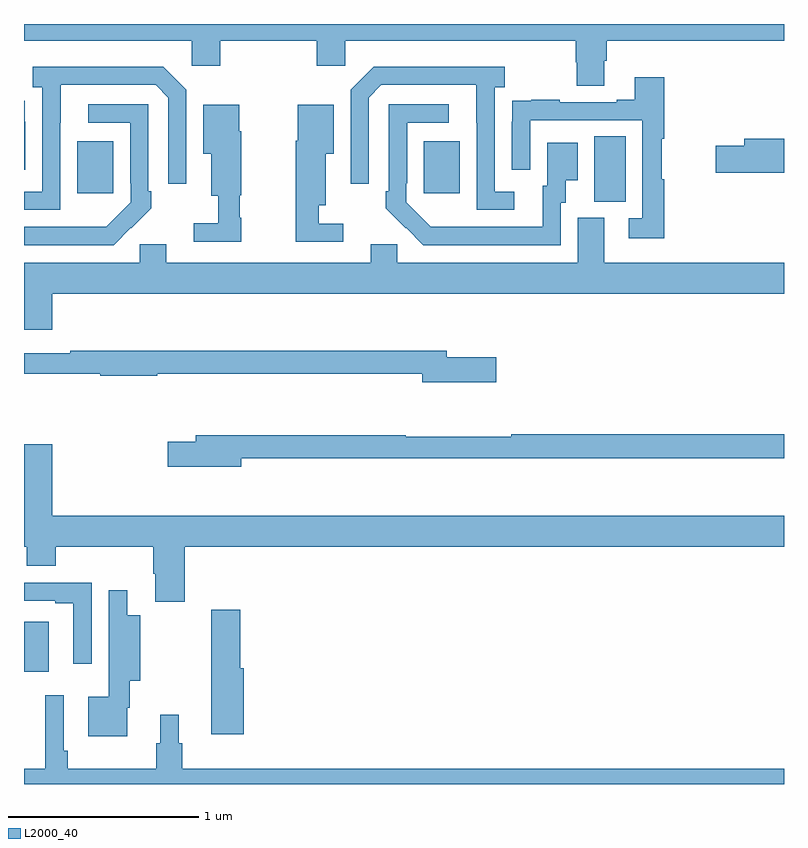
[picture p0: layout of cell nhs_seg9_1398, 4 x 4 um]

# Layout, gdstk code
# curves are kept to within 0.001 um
import gdstk
lib = gdstk.Library(unit=1e-6, precision=1e-09)
def R(c, l, rs):  # rectangles x0, y0, x1, y1
    for r in rs: c.add(gdstk.rectangle(r[:2], r[2:], *l))
def P(c, l, *ps):  # polygons
    for p in ps: c.add(gdstk.Polygon(p, *l))
L2000_40 = (2000, 40)

nhs_seg9_1398 = lib.new_cell('nhs_seg9_1398')
R(nhs_seg9_1398, L2000_40, [(189,1201.091,189.13,1201.354), (192.002,1203.565,192.166,1203.908), (189.281,1203.609,189.469,1203.883), (191.105,1203.609,191.293,1203.883)])
P(nhs_seg9_1398, L2000_40, [(192.055,1204.306),(192.068,1204.306),(192.068,1204.412),(193,1204.412),(193,1204.5),(189,1204.5),(189,1204.412),(189.882,1204.412),(189.882,1204.281),(190.034,1204.281),(190.034,1204.412),(190.541,1204.412),(190.541,1204.281),(190.692,1204.281),(190.692,1204.412),(191.903,1204.412),(191.903,1204.299),(191.908,1204.299),(191.908,1204.174),(192.055,1204.174)],
  [(189.192,1203.979),(189.193,1204.179),(189.693,1204.179),(189.759,1204.113),(189.759,1203.66),(189.855,1203.66),(189.855,1204.155),(189.734,1204.276),(189.045,1204.276),(189.045,1204.166),(189.096,1204.166),(189.096,1203.618),(189,1203.618),(189,1203.522),(189.192,1203.522)],
  [(191.581,1203.618),(191.478,1203.618),(191.478,1204.166),(191.53,1204.166),(191.53,1204.276),(190.84,1204.276),(190.719,1204.155),(190.719,1203.66),(190.815,1203.66),(190.815,1204.113),(190.881,1204.179),(191.381,1204.179),(191.382,1203.522),(191.581,1203.522)],
  [(192.371,1203.684),(192.356,1203.684),(192.356,1203.896),(192.371,1203.896),(192.371,1204.219),(192.215,1204.219),(192.215,1204.102),(192.119,1204.102),(192.119,1204.089),(191.819,1204.089),(191.819,1204.102),(191.671,1204.102),(191.671,1204.095),(191.569,1204.095),(191.569,1203.986),(191.568,1203.986),(191.568,1203.732),(191.664,1203.732),(191.664,1203.993),(192.255,1203.993),(192.255,1203.477),(192.183,1203.477),(192.183,1203.372),(192.371,1203.372)],
  [(189.006,1203.986),(189.005,1203.986),(189.005,1204.095),(189,1204.095),(189,1203.732),(189.006,1203.732)],
  [(189.563,1203.427),(189.564,1203.426),(189.669,1203.531),(189.669,1203.619),(189.654,1203.619),(189.654,1204.077),(189.339,1204.077),(189.339,1203.981),(189.558,1203.981),(189.558,1203.661),(189.561,1203.661),(189.561,1203.561),(189.433,1203.433),(189,1203.432),(189,1203.336),(189.472,1203.336)],
  [(191.826,1203.558),(191.851,1203.558),(191.851,1203.677),(191.914,1203.677),(191.914,1203.874),(191.753,1203.874),(191.753,1203.648),(191.729,1203.648),(191.729,1203.432),(191.142,1203.433),(191.013,1203.561),(191.013,1203.661),(191.016,1203.661),(191.016,1203.981),(191.236,1203.981),(191.236,1204.077),(190.92,1204.077),(190.92,1203.619),(190.905,1203.619),(190.905,1203.531),(191.102,1203.336),(191.826,1203.336)],
  [(190.681,1203.45),(190.552,1203.45),(190.552,1203.545),(190.588,1203.545),(190.588,1203.818),(190.63,1203.818),(190.63,1204.075),(190.442,1204.075),(190.442,1203.885),(190.43,1203.885),(190.43,1203.354),(190.681,1203.354)],
  [(190.144,1203.479),(190.136,1203.479),(190.136,1203.6),(190.144,1203.6),(190.144,1203.936),(190.132,1203.936),(190.132,1204.075),(189.944,1204.075),(189.944,1203.818),(189.986,1203.818),(189.986,1203.596),(190.023,1203.596),(190.023,1203.451),(189.894,1203.451),(189.894,1203.354),(190.144,1203.354)],
  [(193,1203.896),(192.791,1203.896),(192.791,1203.86),(192.642,1203.86),(192.642,1203.718),(193,1203.718)],
  [(189.148,1203.08),(193,1203.08),(193,1203.244),(192.055,1203.244),(192.055,1203.48),(191.915,1203.48),(191.915,1203.244),(190.965,1203.244),(190.965,1203.342),(190.826,1203.342),(190.826,1203.244),(189.748,1203.244),(189.748,1203.342),(189.609,1203.342),(189.609,1203.244),(189,1203.244),(189,1202.892),(189.148,1202.892)],
  [(191.485,1202.745),(191.224,1202.745),(191.224,1202.779),(189.244,1202.779),(189.244,1202.766),(189,1202.766),(189,1202.658),(189.4,1202.658),(189.4,1202.65),(189.7,1202.65),(189.7,1202.658),(191.096,1202.658),(191.096,1202.615),(191.485,1202.615)],
  [(190.144,1202.214),(193,1202.214),(193,1202.342),(191.564,1202.342),(191.564,1202.327),(191.009,1202.327),(191.009,1202.335),(189.905,1202.335),(189.905,1202.301),(189.756,1202.301),(189.756,1202.171),(190.144,1202.171)],
  [(189.845,1201.748),(193,1201.748),(193,1201.912),(189.148,1201.912),(189.148,1202.287),(189,1202.287),(189,1201.748),(189.015,1201.748),(189.015,1201.65),(189.167,1201.65),(189.167,1201.748),(189.68,1201.748),(189.68,1201.606),(189.692,1201.606),(189.692,1201.458),(189.845,1201.458)],
  [(189.357,1201.56),(189,1201.56),(189,1201.464),(189.164,1201.464),(189.164,1201.452),(189.26,1201.452),(189.26,1201.134),(189.357,1201.134)],
  [(189.543,1200.902),(189.556,1200.902),(189.556,1201.043),(189.612,1201.043),(189.612,1201.387),(189.544,1201.387),(189.544,1201.519),(189.446,1201.519),(189.446,1201.283),(189.445,1201.283),(189.445,1200.958),(189.338,1200.958),(189.338,1200.752),(189.543,1200.752)],
  [(190.157,1201.11),(190.139,1201.11),(190.139,1201.417),(189.985,1201.417),(189.985,1201.11),(189.986,1201.11),(189.986,1200.762),(190.157,1200.762)],
  [(193,1200.58),(189.833,1200.58),(189.833,1200.714),(189.814,1200.714),(189.814,1200.865),(189.716,1200.865),(189.716,1200.714),(189.697,1200.714),(189.697,1200.58),(189.23,1200.58),(189.23,1200.676),(189.21,1200.676),(189.21,1200.967),(189.113,1200.967),(189.113,1200.58),(189,1200.58),(189,1200.5),(193,1200.5)])

lib.write_gds('nhs_seg9_1398.gds')
